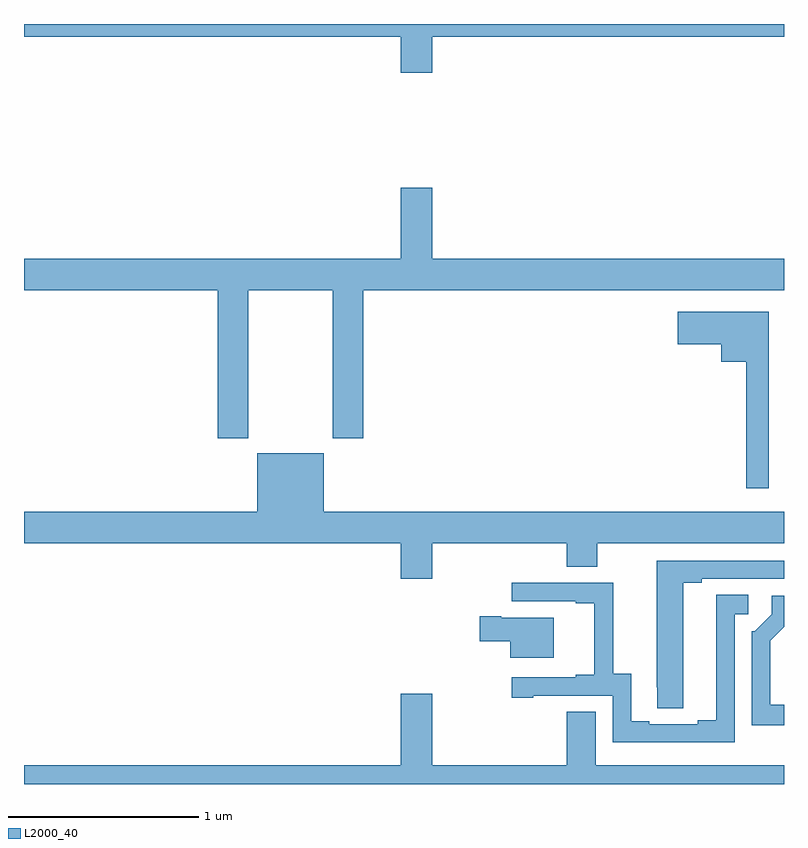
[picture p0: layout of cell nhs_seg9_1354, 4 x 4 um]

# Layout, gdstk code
import gdstk
lib = gdstk.Library(unit=1e-6, precision=1e-09)
def P(c, l, *ps):  # polygons
    for p in ps: c.add(gdstk.Polygon(p, *l))
L2000_40 = (2000, 40)

nhs_seg9_1354 = lib.new_cell('nhs_seg9_1354')
P(nhs_seg9_1354, L2000_40, [(189.148,1184.432),(191,1184.432),(191,1184.5),(187,1184.5),(187,1184.432),(188.984,1184.432),(188.984,1184.244),(189.148,1184.244)],
  [(188.181,1183.1),(188.626,1183.1),(188.626,1182.321),(188.786,1182.321),(188.786,1183.1),(191,1183.1),(191,1183.264),(189.148,1183.264),(189.148,1183.639),(188.984,1183.639),(188.984,1183.264),(187,1183.264),(187,1183.1),(188.021,1183.1),(188.021,1182.321),(188.181,1182.321)],
  [(190.921,1182.985),(190.44,1182.985),(190.44,1182.815),(190.67,1182.815),(190.67,1182.722),(190.8,1182.722),(190.8,1182.057),(190.921,1182.057)],
  [(189.148,1181.768),(189.857,1181.768),(189.857,1181.644),(190.017,1181.644),(190.017,1181.768),(191,1181.768),(191,1181.932),(188.578,1181.932),(188.578,1182.241),(188.228,1182.241),(188.228,1181.932),(187,1181.932),(187,1181.768),(188.984,1181.768),(188.984,1181.58),(189.148,1181.58)],
  [(190.471,1181.56),(190.567,1181.56),(190.567,1181.58),(191,1181.58),(191,1181.676),(190.331,1181.676),(190.331,1181.008),(190.332,1181.008),(190.332,1180.9),(190.471,1180.9)],
  [(190.74,1181.394),(190.813,1181.394),(190.813,1181.495),(190.643,1181.495),(190.643,1180.835),(190.547,1180.835),(190.547,1180.815),(190.291,1180.815),(190.291,1180.83),(190.195,1180.83),(190.195,1181.081),(190.101,1181.081),(190.101,1181.559),(189.567,1181.559),(189.567,1181.463),(189.905,1181.463),(189.905,1181.451),(190.001,1181.451),(190.001,1181.074),(189.905,1181.074),(189.905,1181.061),(189.567,1181.061),(189.567,1180.953),(189.679,1180.953),(189.679,1180.965),(190.098,1180.965),(190.098,1180.719),(190.74,1180.719)],
  [(191,1180.918),(190.927,1180.918),(190.927,1181.254),(191,1181.327),(191,1181.49),(190.935,1181.49),(190.935,1181.394),(190.845,1181.304),(190.83,1181.304),(190.83,1180.808),(191,1180.808)],
  [(189.787,1181.374),(189.511,1181.374),(189.511,1181.382),(189.399,1181.382),(189.399,1181.252),(189.56,1181.252),(189.56,1181.165),(189.787,1181.165)],
  [(191,1180.6),(190.009,1180.6),(190.009,1180.88),(189.857,1180.88),(189.857,1180.6),(189.148,1180.6),(189.148,1180.975),(188.984,1180.975),(188.984,1180.6),(187,1180.6),(187,1180.5),(191,1180.5)])

lib.write_gds('nhs_seg9_1354.gds')
